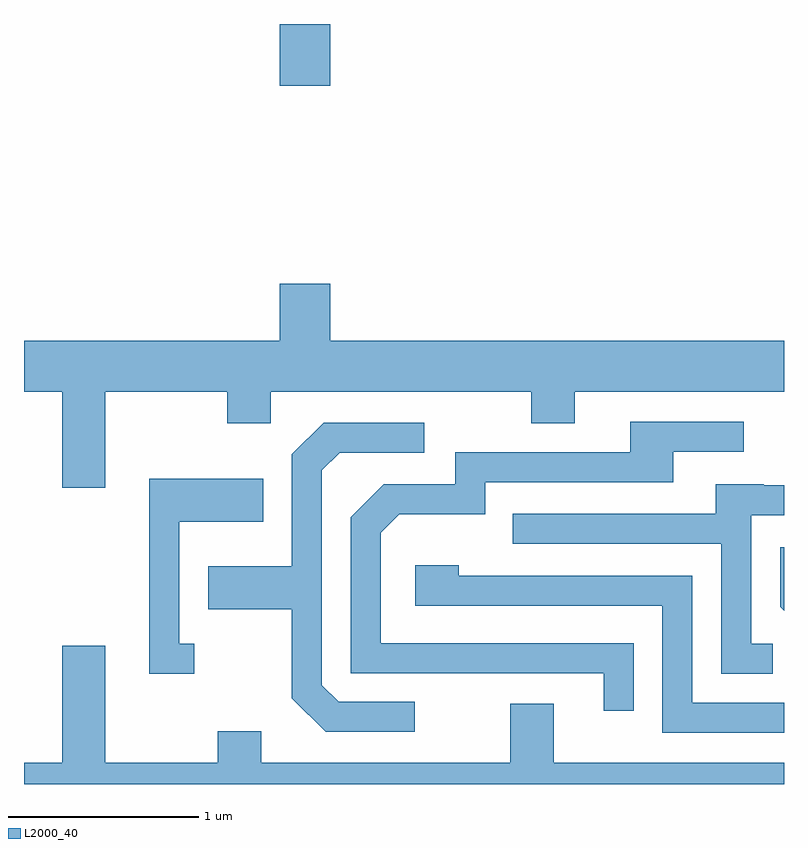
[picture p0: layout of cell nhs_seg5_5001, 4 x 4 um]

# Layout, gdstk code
import gdstk
lib = gdstk.Library(unit=1e-6, precision=1e-09)
def R(c, l, rs):  # rectangles x0, y0, x1, y1
    for r in rs: c.add(gdstk.rectangle(r[:2], r[2:], *l))
def P(c, l, *ps):  # polygons
    for p in ps: c.add(gdstk.Polygon(p, *l))
L2000_40 = (2000, 40)

nhs_seg5_5001 = lib.new_cell('nhs_seg5_5001')
R(nhs_seg5_5001, L2000_40, [(334.956,1451.746,335.224,1452.072)])
P(nhs_seg5_5001, L2000_40, [(334.039,1450.136),(334.681,1450.136),(334.681,1449.971),(334.909,1449.971),(334.909,1450.136),(336.281,1450.136),(336.281,1449.971),(336.509,1449.971),(336.509,1450.136),(337.611,1450.136),(337.611,1450.404),(335.224,1450.404),(335.224,1450.704),(334.956,1450.704),(334.956,1450.404),(333.611,1450.404),(333.611,1450.136),(333.811,1450.136),(333.811,1449.631),(334.039,1449.631)],
  [(336.819,1448.814),(335.489,1448.814),(335.489,1449.394),(335.587,1449.491),(336.039,1449.491),(336.039,1449.661),(337.029,1449.661),(337.029,1449.821),(337.398,1449.821),(337.398,1449.979),(336.801,1449.979),(336.801,1449.819),(335.881,1449.819),(335.881,1449.649),(335.504,1449.649),(335.331,1449.477),(335.331,1448.656),(336.661,1448.656),(336.661,1448.458),(336.819,1448.458)],
  [(335.668,1448.504),(335.267,1448.504),(335.179,1448.592),(335.179,1449.724),(335.272,1449.816),(335.718,1449.816),(335.718,1449.974),(335.189,1449.974),(335.021,1449.807),(335.021,1449.219),(334.581,1449.219),(334.581,1448.991),(335.021,1448.991),(335.021,1448.524),(335.199,1448.346),(335.668,1448.346)],
  [(334.508,1448.809),(334.429,1448.809),(334.429,1449.451),(334.869,1449.451),(334.869,1449.679),(334.271,1449.679),(334.271,1448.651),(334.508,1448.651)],
  [(337.553,1448.809),(337.439,1448.809),(337.439,1449.486),(337.611,1449.486),(337.611,1449.644),(337.505,1449.644),(337.505,1449.649),(337.251,1449.649),(337.251,1449.494),(336.183,1449.494),(336.183,1449.336),(337.281,1449.336),(337.281,1448.651),(337.553,1448.651)],
  [(337.611,1449.318),(337.591,1449.318),(337.591,1449.004),(337.611,1448.984)],
  [(337.611,1448.499),(337.129,1448.499),(337.129,1449.169),(335.899,1449.169),(335.899,1449.224),(335.671,1449.224),(335.671,1449.011),(336.971,1449.011),(336.971,1448.341),(337.611,1448.341)],
  [(337.611,1448.184),(336.399,1448.184),(336.399,1448.494),(336.171,1448.494),(336.171,1448.184),(334.859,1448.184),(334.859,1448.349),(334.631,1448.349),(334.631,1448.184),(334.039,1448.184),(334.039,1448.799),(333.811,1448.799),(333.811,1448.184),(333.611,1448.184),(333.611,1448.072),(337.611,1448.072)])

lib.write_gds('nhs_seg5_5001.gds')
